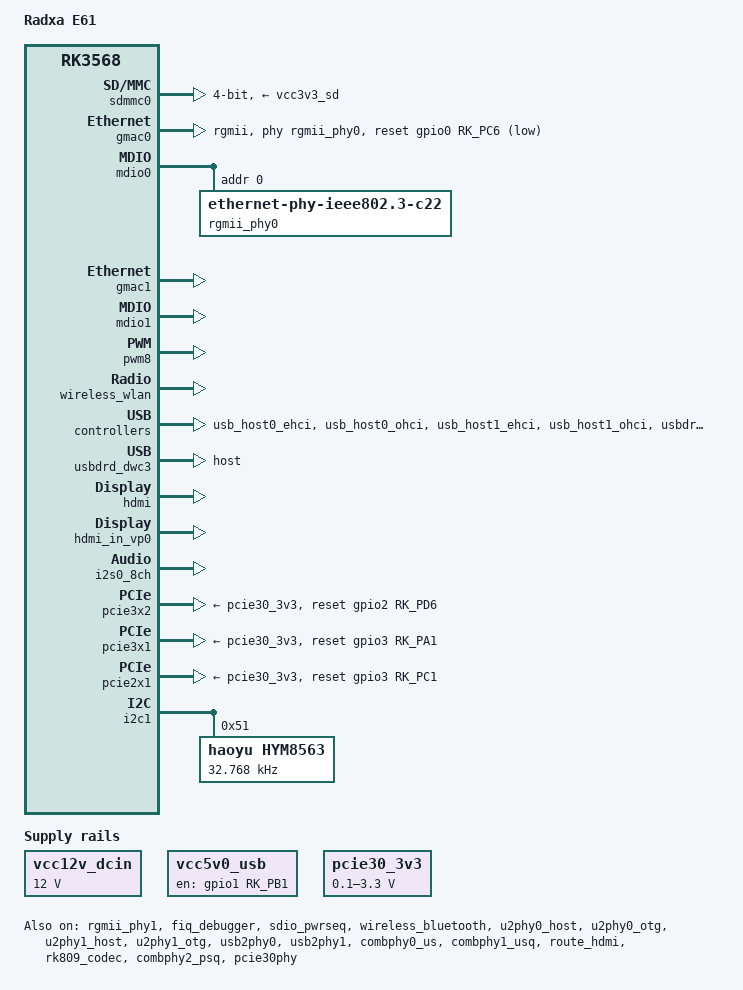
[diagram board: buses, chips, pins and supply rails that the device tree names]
// SPDX-License-Identifier: (GPL-2.0+ OR MIT)
/*
 * Copyright (c) 2023 Radxa Limited.
 *
 */

/dts-v1/;

#include "rk3568-radxa-rock-3-compute-module-plus.dtsi"

/ {
	model = "Radxa E61";
	compatible = "radxa,e61", "rockchip,rk3568";

	vcc12v_dcin: vcc12v-dcin {
		compatible = "regulator-fixed";
		regulator-name = "vcc12v_dcin";
		regulator-always-on;
		regulator-boot-on;
		regulator-min-microvolt = <12000000>;
		regulator-max-microvolt = <12000000>;
	};

	vcc5v0_usb: vcc5v0-usb {
		compatible = "regulator-fixed";
		regulator-always-on;
		regulator-boot-on;
		enable-active-high;
		gpio = <&gpio1 RK_PB1 GPIO_ACTIVE_HIGH>;
		pinctrl-names = "default";
		pinctrl-0 = <&vcc5v0_en>;
		regulator-name = "vcc5v0_usb";
	};

	pcie30_3v3: pcie30-3v3 {
		compatible = "regulator-gpio";
		regulator-name = "pcie30_3v3";
		regulator-min-microvolt = <100000>;
		regulator-max-microvolt = <3300000>;
		gpios = <&gpio3 RK_PC4 GPIO_ACTIVE_HIGH>;
		gpios-states = <0x1>;
		states = <100000 0x0
			  3300000 0x1>;
	};

	hdmi_sound: hdmi-sound {
		compatible = "simple-audio-card";
		simple-audio-card,format = "i2s";
		simple-audio-card,mclk-fs = <128>;
		simple-audio-card,name = "rockchip,hdmi";
		status = "okay";

		simple-audio-card,cpu {
			sound-dai = <&i2s0_8ch>;
		};
		simple-audio-card,codec {
			sound-dai = <&hdmi>;
		};
	};
};

&dmc {
	status = "disabled";
};

&vcc5v0_sys {
	vin-supply = <&vcc12v_dcin>;
};

&sdmmc0 {
	max-frequency = <150000000>;
	supports-sd;
	bus-width = <4>;
	cap-mmc-highspeed;
	cap-sd-highspeed;
	disable-wp;
	sd-uhs-sdr104;
	vmmc-supply = <&vcc3v3_sd>;
	vqmmc-supply = <&vccio_sd>;
	pinctrl-names = "default";
	pinctrl-0 = <&sdmmc0_bus4 &sdmmc0_clk &sdmmc0_cmd &sdmmc0_det>;
	status = "okay";
};

&gmac0 {
	phy-mode = "rgmii";
	clock_in_out = "output";

	snps,reset-gpio = <&gpio0 RK_PC6 GPIO_ACTIVE_LOW>;
	snps,reset-active-low;
	/* Reset time is 20ms, 100ms for rtl8211f */
	snps,reset-delays-us = <0 20000 100000>;

	assigned-clocks = <&cru SCLK_GMAC0_RX_TX>, <&cru SCLK_GMAC0>;
	assigned-clock-parents = <&cru SCLK_GMAC0_RGMII_SPEED>;
	assigned-clock-rates = <0>, <125000000>;

	pinctrl-names = "default";
	pinctrl-0 = <&gmac0_miim
		     &gmac0_tx_bus2
		     &gmac0_rx_bus2
		     &gmac0_rgmii_clk
		     &gmac0_rgmii_bus>;

	tx_delay = <0x36>;
	rx_delay = <0x2d>;

	phy-handle = <&rgmii_phy0>;
	status = "okay";
};

&mdio0 {
	status = "okay";

	rgmii_phy0: phy@0 {
		compatible = "ethernet-phy-ieee802.3-c22";
		reg = <0x0>;
	};
};

&gmac1 {
	status = "okay";
};

&mdio1 {
	status = "okay";
};

&rgmii_phy1 {
	status = "okay";
};

&pwm8 {
	status = "okay";
	pinctrl-0 = <&pwm8m0_pins>;
};

&fiq_debugger {
	status = "okay";
};

&sdio_pwrseq {
	status = "okay";
};

&wireless_wlan {
	status = "okay";
};

&wireless_bluetooth {
	status = "okay";
};

&u2phy0_host {
	phy-supply = <&vcc5v0_usb>;
	status = "okay";
};

&u2phy0_otg {
	vbus-supply = <&vcc5v0_usb>;
	status = "okay";
};

&u2phy1_host {
	phy-supply = <&vcc5v0_usb>;
	status = "okay";
};

&u2phy1_otg {
	phy-supply = <&vcc5v0_usb>;
	status = "okay";
};

&usb2phy0 {
	status = "okay";
};

&usb2phy1 {
	status = "okay";
};

&usb_host0_ehci {
	status = "okay";
};

&usb_host0_ohci {
	status = "okay";
};

&usb_host1_ehci {
	status = "okay";
};

&usb_host1_ohci {
	status = "okay";
};

&usbdrd_dwc3 {
	dr_mode = "host";
	status="okay";
};

&usbdrd30 {
	status = "okay";
};

&usbhost_dwc3 {
	status = "okay";
};

&usbhost30 {
	status = "okay";
};

&combphy0_us {
	status = "okay";
};

&combphy1_usq {
	status = "okay";
};

&hdmi {
	status = "okay";
	pinctrl-0 = <&hdmitx_scl &hdmitx_sda &hdmitxm1_cec>;
};

&hdmi_in_vp0 {
	status = "okay";
};

&hdmi_in_vp1 {
	status = "disabled";
};

&hdmi_sound {
	status = "okay";
};

&route_hdmi {
	status = "okay";
	connect = <&vp0_out_hdmi>;
};

&rk809_codec {
	status = "okay";
};

&i2s0_8ch {
	status = "okay";
};

&combphy2_psq {
	status = "okay";
};

&pcie30phy {
	status = "okay";
};

&pcie3x2 {
	reset-gpios = <&gpio2 RK_PD6 GPIO_ACTIVE_HIGH>;
	vpcie3v3-supply = <&pcie30_3v3>;
	pinctrl-0 = <&pcie30x2m1_pins>;
	rockchip,bifurcation;
	status = "okay";
};

&pcie3x1 {
	reset-gpios = <&gpio3 RK_PA1 GPIO_ACTIVE_HIGH>;
	vpcie3v3-supply = <&pcie30_3v3>;
	pinctrl-0 = <&pcie30x1m1_pins>;
	rockchip,bifurcation;
	status = "okay";
};

&pcie2x1 {
	reset-gpios = <&gpio3 RK_PC1 GPIO_ACTIVE_HIGH>;
	vpcie3v3-supply = <&pcie30_3v3>;
	pinctrl-0 = <&pcie20m1_pins>;
	status = "okay";
};

&i2c1 {
	status = "okay";
	pinctrl-0 = <&i2c1_xfer>;

	hym8563: hym8563@51 {
		compatible = "haoyu,hym8563";
		status = "okay";
		reg = <0x51>;
		#clock-cells = <0>;
		clock-frequency = <32768>;
		clock-output-names = "hym8563";
	};
};

&pinctrl {
	usb {
		vcc5v0_en: vcc5v0-en {
			rockchip,pins = <1 RK_PB1 RK_FUNC_GPIO &pcfg_pull_none>;
		};
	};
};
